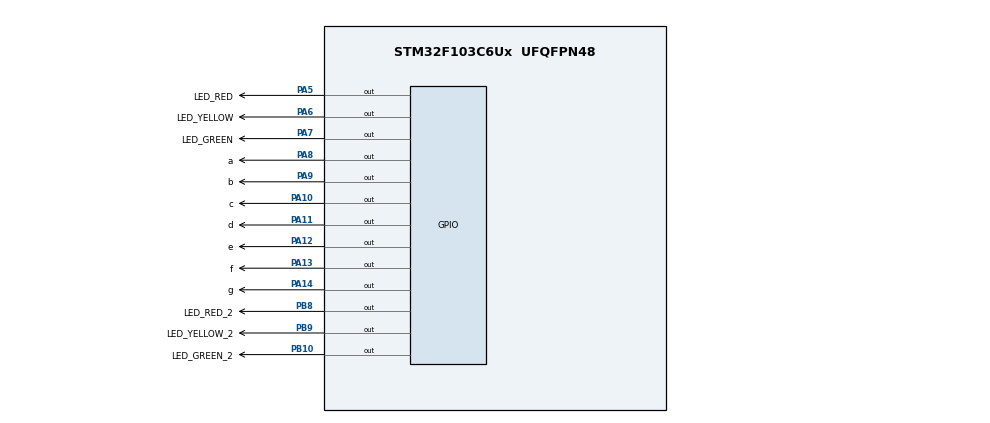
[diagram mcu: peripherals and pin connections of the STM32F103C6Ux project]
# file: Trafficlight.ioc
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Mcu.Family=STM32F1
Mcu.Name=STM32F103C6Ux
Mcu.Package=UFQFPN48
NVIC.PriorityGroup=NVIC_PRIORITYGROUP_4
PA10.GPIO_Label=c
PA10.Signal=GPIO_Output
PA11.GPIO_Label=d
PA11.Signal=GPIO_Output
PA12.GPIO_Label=e
PA12.Signal=GPIO_Output
PA13.GPIO_Label=f
PA13.Signal=GPIO_Output
PA14.GPIO_Label=g
PA14.Signal=GPIO_Output
PA5.GPIO_Label=LED_RED
PA5.Signal=GPIO_Output
PA6.GPIO_Label=LED_YELLOW
PA6.Signal=GPIO_Output
PA7.GPIO_Label=LED_GREEN
PA7.Signal=GPIO_Output
PA8.GPIO_Label=a
PA8.Signal=GPIO_Output
PA9.GPIO_Label=b
PA9.Signal=GPIO_Output
PB10.GPIO_Label=LED_GREEN_2
PB10.Signal=GPIO_Output
PB8.GPIO_Label=LED_RED_2
PB8.Signal=GPIO_Output
PB9.GPIO_Label=LED_YELLOW_2
PB9.Signal=GPIO_Output
ProjectManager.HeapSize=0x200
ProjectManager.StackSize=0x400
ProjectManager.TargetToolchain=STM32CubeIDE
RCC.APB1Freq_Value=8000000
RCC.APB2Freq_Value=8000000
VP_SYS_VS_ND.Mode=No_Debug
board=custom

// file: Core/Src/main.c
/* USER CODE BEGIN Header */
/**
  ******************************************************************************
  * @file           : main.c
  * @brief          : Main program body
  ******************************************************************************
  * @attention
  *
  * <h2><center>&copy; Copyright (c) 2023 STMicroelectronics.
  * All rights reserved.</center></h2>
  *
  * This software component is licensed by ST under BSD 3-Clause license,
  * the "License"; You may not use this file except in compliance with the
  * License. You may obtain a copy of the License at:
  *                        opensource.org/licenses/BSD-3-Clause
  *
  ******************************************************************************
  */
/* USER CODE END Header */
#include "main.h"

void SystemClock_Config(void);
static void MX_GPIO_Init(void);

int main(void)
{

  /* MCU Configuration--------------------------------------------------------*/

  /* Reset of all peripherals, Initializes the Flash interface and the Systick. */
  HAL_Init();

  /* Configure the system clock */
  SystemClock_Config();

  /* Initialize all configured peripherals */
  MX_GPIO_Init();

  /* Infinite loop */
  /* USER CODE BEGIN WHILE */
  void Display7SEG(int num){
	  HAL_GPIO_WritePin(a_GPIO_Port,a_Pin, GPIO_PIN_SET);
	  HAL_GPIO_WritePin(b_GPIO_Port,b_Pin, GPIO_PIN_SET);
	  HAL_GPIO_WritePin(c_GPIO_Port,c_Pin, GPIO_PIN_SET);
	  HAL_GPIO_WritePin(g_GPIO_Port,g_Pin, GPIO_PIN_SET);
	  HAL_GPIO_WritePin(e_GPIO_Port,e_Pin, GPIO_PIN_SET);
	  HAL_GPIO_WritePin(d_GPIO_Port,d_Pin, GPIO_PIN_SET);
	  HAL_GPIO_WritePin(f_GPIO_Port,f_Pin, GPIO_PIN_SET);
	  switch(num){
	  case 0:
		  HAL_GPIO_WritePin(a_GPIO_Port,a_Pin, GPIO_PIN_RESET);
		  HAL_GPIO_WritePin(b_GPIO_Port,b_Pin, GPIO_PIN_RESET);
		  HAL_GPIO_WritePin(c_GPIO_Port,c_Pin, GPIO_PIN_RESET);
		  HAL_GPIO_WritePin(e_GPIO_Port,e_Pin, GPIO_PIN_RESET);
		  HAL_GPIO_WritePin(d_GPIO_Port,d_Pin, GPIO_PIN_RESET);
		  HAL_GPIO_WritePin(f_GPIO_Port,f_Pin, GPIO_PIN_RESET);
		  break;
	  case 1:
		  HAL_GPIO_WritePin(b_GPIO_Port,b_Pin, GPIO_PIN_RESET);
		  HAL_GPIO_WritePin(c_GPIO_Port,c_Pin, GPIO_PIN_RESET);
		  break;
	  case 2:
		  HAL_GPIO_WritePin(a_GPIO_Port,a_Pin, GPIO_PIN_RESET);
		  HAL_GPIO_WritePin(b_GPIO_Port,b_Pin, GPIO_PIN_RESET);
		  HAL_GPIO_WritePin(g_GPIO_Port,g_Pin, GPIO_PIN_RESET);
		  HAL_GPIO_WritePin(e_GPIO_Port,e_Pin, GPIO_PIN_RESET);
		  HAL_GPIO_WritePin(d_GPIO_Port,d_Pin, GPIO_PIN_RESET);
		  break;
	  case 3:
		  HAL_GPIO_WritePin(a_GPIO_Port,a_Pin, GPIO_PIN_RESET);
		  HAL_GPIO_WritePin(b_GPIO_Port,b_Pin, GPIO_PIN_RESET);
		  HAL_GPIO_WritePin(g_GPIO_Port,g_Pin, GPIO_PIN_RESET);
		  HAL_GPIO_WritePin(c_GPIO_Port,c_Pin, GPIO_PIN_RESET);
		  HAL_GPIO_WritePin(d_GPIO_Port,d_Pin, GPIO_PIN_RESET);
		  break;
	  case 4:
		  HAL_GPIO_WritePin(f_GPIO_Port,f_Pin, GPIO_PIN_RESET);
		  HAL_GPIO_WritePin(b_GPIO_Port,b_Pin, GPIO_PIN_RESET);
		  HAL_GPIO_WritePin(g_GPIO_Port,g_Pin, GPIO_PIN_RESET);
		  HAL_GPIO_WritePin(c_GPIO_Port,c_Pin, GPIO_PIN_RESET);
		  break;
	  case 5:
		  HAL_GPIO_WritePin(a_GPIO_Port,a_Pin, GPIO_PIN_RESET);
		  HAL_GPIO_WritePin(f_GPIO_Port,f_Pin, GPIO_PIN_RESET);
		  HAL_GPIO_WritePin(g_GPIO_Port,g_Pin, GPIO_PIN_RESET);
		  HAL_GPIO_WritePin(c_GPIO_Port,c_Pin, GPIO_PIN_RESET);
		  HAL_GPIO_WritePin(d_GPIO_Port,d_Pin, GPIO_PIN_RESET);
		  break;
	  case 6:
		  HAL_GPIO_WritePin(a_GPIO_Port,a_Pin, GPIO_PIN_RESET);
		  HAL_GPIO_WritePin(f_GPIO_Port,f_Pin, GPIO_PIN_RESET);
		  HAL_GPIO_WritePin(g_GPIO_Port,g_Pin, GPIO_PIN_RESET);
		  HAL_GPIO_WritePin(e_GPIO_Port,e_Pin, GPIO_PIN_RESET);
		  HAL_GPIO_WritePin(c_GPIO_Port,c_Pin, GPIO_PIN_RESET);
		  HAL_GPIO_WritePin(d_GPIO_Port,d_Pin, GPIO_PIN_RESET);
		  break;
	  case 7:
	     HAL_GPIO_WritePin(a_GPIO_Port,a_Pin, GPIO_PIN_RESET);
	  	 HAL_GPIO_WritePin(b_GPIO_Port,b_Pin, GPIO_PIN_RESET);
	  	 HAL_GPIO_WritePin(c_GPIO_Port,c_Pin, GPIO_PIN_RESET);
	  	 break;
	  case 8:
		  HAL_GPIO_WritePin(a_GPIO_Port,a_Pin, GPIO_PIN_RESET);
		  HAL_GPIO_WritePin(b_GPIO_Port,b_Pin, GPIO_PIN_RESET);
		  HAL_GPIO_WritePin(c_GPIO_Port,c_Pin, GPIO_PIN_RESET);
		  HAL_GPIO_WritePin(g_GPIO_Port,g_Pin, GPIO_PIN_RESET);
		  HAL_GPIO_WritePin(e_GPIO_Port,e_Pin, GPIO_PIN_RESET);
		  HAL_GPIO_WritePin(d_GPIO_Port,d_Pin, GPIO_PIN_RESET);
		  HAL_GPIO_WritePin(f_GPIO_Port,f_Pin, GPIO_PIN_RESET);
		  break;
	  case 9:
		  HAL_GPIO_WritePin(a_GPIO_Port,a_Pin, GPIO_PIN_RESET);
		  HAL_GPIO_WritePin(b_GPIO_Port,b_Pin, GPIO_PIN_RESET);
		  HAL_GPIO_WritePin(c_GPIO_Port,c_Pin, GPIO_PIN_RESET);
		  HAL_GPIO_WritePin(g_GPIO_Port,g_Pin, GPIO_PIN_RESET);
		  HAL_GPIO_WritePin(d_GPIO_Port,d_Pin, GPIO_PIN_RESET);
		  HAL_GPIO_WritePin(f_GPIO_Port,f_Pin, GPIO_PIN_RESET);
		  break;
	  }
  }
  int counter = 0;
  while (1)
  {
	  if(counter >= 0 && counter <= 5)
	 	 {
	 		 //tắt đèn xanh 1
	 		 HAL_GPIO_WritePin(LED_GREEN_GPIO_Port,LED_GREEN_Pin,GPIO_PIN_SET);
	 		 //tắt đèn vàng 1
	 		 HAL_GPIO_WritePin(LED_YELLOW_GPIO_Port,LED_YELLOW_Pin,GPIO_PIN_SET);
	 		 //đèn đỏ 1 sáng
	 		 HAL_GPIO_WritePin(LED_RED_GPIO_Port,LED_RED_Pin,GPIO_PIN_RESET);

	 		 //đèn xanh 2 sáng
	 		 HAL_GPIO_WritePin(LED_GREEN_2_GPIO_Port,LED_GREEN_2_Pin,GPIO_PIN_RESET);
	 		 //tắt đèn vàng 2
	 		 HAL_GPIO_WritePin(LED_YELLOW_2_GPIO_Port, LED_YELLOW_2_Pin, GPIO_PIN_SET);
	 		 //tắt đèn đỏ 2
	 		 HAL_GPIO_WritePin(LED_RED_2_GPIO_Port, LED_RED_2_Pin, GPIO_PIN_SET);

	 		 if(counter > 3){
	 			 //đèn xanh 2 tắt
	 			 HAL_GPIO_WritePin(LED_GREEN_2_GPIO_Port,LED_GREEN_2_Pin,GPIO_PIN_SET);
	 			 //đèn vàng 2 bật
	 			 HAL_GPIO_WritePin(LED_YELLOW_2_GPIO_Port,LED_YELLOW_2_Pin,GPIO_PIN_RESET);
	 		 }
	 	 }
	 	 else if(counter >=6 && counter <= 10)
	 	 {

	 		 //tắt đèn xanh 2
	 		 HAL_GPIO_WritePin(LED_GREEN_2_GPIO_Port,LED_GREEN_2_Pin,GPIO_PIN_SET);
	 		 //tắt đèn vàng 2
	 		 HAL_GPIO_WritePin(LED_YELLOW_2_GPIO_Port,LED_YELLOW_2_Pin,GPIO_PIN_SET);
	 		 //đèn đỏ 2 sáng
	 		 HAL_GPIO_WritePin(LED_RED_2_GPIO_Port,LED_RED_2_Pin,GPIO_PIN_RESET);

	 		 //đèn xanh 1 sáng
	 		 HAL_GPIO_WritePin(LED_GREEN_GPIO_Port,LED_GREEN_Pin,GPIO_PIN_RESET);
	 		 //tắt đèn vàng 1
	 		 HAL_GPIO_WritePin(LED_YELLOW_GPIO_Port, LED_YELLOW_Pin, GPIO_PIN_SET);
	 		 //tắt đèn đỏ 1
	 		 HAL_GPIO_WritePin(LED_RED_GPIO_Port, LED_RED_Pin, GPIO_PIN_SET);
	 		 if(counter > 8){
	 			 //tắt đèn xanh 1
	 			 HAL_GPIO_WritePin(LED_GREEN_GPIO_Port,LED_GREEN_Pin,GPIO_PIN_SET);
	 			 //bật đèn vàng 1
	 			 HAL_GPIO_WritePin(LED_YELLOW_GPIO_Port,LED_YELLOW_Pin,GPIO_PIN_RESET);
	 		 }
	 	 }

	 	 if(counter == 10)
	 	 	 {
	 	 		 counter= 0;
	 	 	 }
	 	 Display7SEG(counter);
	 	 	 counter++;
	 	 HAL_Delay(1000);

    /* USER CODE END WHILE */

  }

void SystemClock_Config(void)
{
  RCC_OscInitTypeDef RCC_OscInitStruct = {0};
  RCC_ClkInitTypeDef RCC_ClkInitStruct = {0};

  /** Initializes the RCC Oscillators according to the specified parameters
  * in the RCC_OscInitTypeDef structure.
  */
  RCC_OscInitStruct.OscillatorType = RCC_OSCILLATORTYPE_HSI;
  RCC_OscInitStruct.HSIState = RCC_HSI_ON;
  RCC_OscInitStruct.HSICalibrationValue = RCC_HSICALIBRATION_DEFAULT;
  RCC_OscInitStruct.PLL.PLLState = RCC_PLL_NONE;
  if (HAL_RCC_OscConfig(&RCC_OscInitStruct) != HAL_OK)
  {
    Error_Handler();
  }
  /** Initializes the CPU, AHB and APB buses clocks
  */
  RCC_ClkInitStruct.ClockType = RCC_CLOCKTYPE_HCLK|RCC_CLOCKTYPE_SYSCLK
                              |RCC_CLOCKTYPE_PCLK1|RCC_CLOCKTYPE_PCLK2;
  RCC_ClkInitStruct.SYSCLKSource = RCC_SYSCLKSOURCE_HSI;
  RCC_ClkInitStruct.AHBCLKDivider = RCC_SYSCLK_DIV1;
  RCC_ClkInitStruct.APB1CLKDivider = RCC_HCLK_DIV1;
  RCC_ClkInitStruct.APB2CLKDivider = RCC_HCLK_DIV1;

  if (HAL_RCC_ClockConfig(&RCC_ClkInitStruct, FLASH_LATENCY_0) != HAL_OK)
  {
    Error_Handler();
  }
}

static void MX_GPIO_Init(void)
{
  GPIO_InitTypeDef GPIO_InitStruct = {0};

  /* GPIO Ports Clock Enable */
  __HAL_RCC_GPIOA_CLK_ENABLE();
  __HAL_RCC_GPIOB_CLK_ENABLE();

  /*Configure GPIO pin Output Level */
  HAL_GPIO_WritePin(GPIOA, LED_RED_Pin|LED_YELLOW_Pin|LED_GREEN_Pin|a_Pin
                          |b_Pin|c_Pin|d_Pin|e_Pin
                          |f_Pin|g_Pin, GPIO_PIN_RESET);

  /*Configure GPIO pin Output Level */
  HAL_GPIO_WritePin(GPIOB, LED_GREEN_2_Pin|LED_RED_2_Pin|LED_YELLOW_2_Pin, GPIO_PIN_RESET);

  /*Configure GPIO pins : LED_RED_Pin LED_YELLOW_Pin LED_GREEN_Pin a_Pin
                           b_Pin c_Pin d_Pin e_Pin
                           f_Pin g_Pin */
  GPIO_InitStruct.Pin = LED_RED_Pin|LED_YELLOW_Pin|LED_GREEN_Pin|a_Pin
                          |b_Pin|c_Pin|d_Pin|e_Pin
                          |f_Pin|g_Pin;
  GPIO_InitStruct.Mode = GPIO_MODE_OUTPUT_PP;
  GPIO_InitStruct.Pull = GPIO_NOPULL;
  GPIO_InitStruct.Speed = GPIO_SPEED_FREQ_LOW;
  HAL_GPIO_Init(GPIOA, &GPIO_InitStruct);

  /*Configure GPIO pins : LED_GREEN_2_Pin LED_RED_2_Pin LED_YELLOW_2_Pin */
  GPIO_InitStruct.Pin = LED_GREEN_2_Pin|LED_RED_2_Pin|LED_YELLOW_2_Pin;
  GPIO_InitStruct.Mode = GPIO_MODE_OUTPUT_PP;
  GPIO_InitStruct.Pull = GPIO_NOPULL;
  GPIO_InitStruct.Speed = GPIO_SPEED_FREQ_LOW;
  HAL_GPIO_Init(GPIOB, &GPIO_InitStruct);

}

void Error_Handler(void)
{
  __disable_irq();
  while (1)
  {
  }
}

/************************ (C) COPYRIGHT STMicroelectronics *****END OF FILE****/
